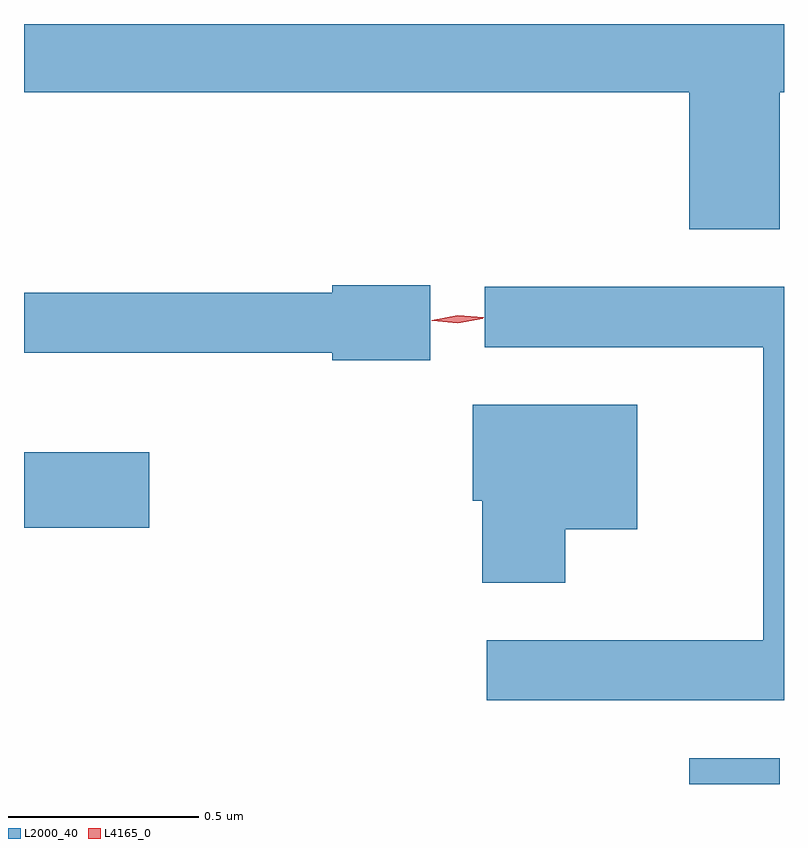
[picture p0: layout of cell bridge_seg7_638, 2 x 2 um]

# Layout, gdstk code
import gdstk
lib = gdstk.Library(unit=1e-6, precision=1e-09)
def R(c, l, rs):  # rectangles x0, y0, x1, y1
    for r in rs: c.add(gdstk.rectangle(r[:2], r[2:], *l))
def P(c, l, *ps):  # polygons
    for p in ps: c.add(gdstk.Polygon(p, *l))
L2000_40 = (2000, 40)
L4165_0 = (4165, 0)

bridge_seg7_638 = lib.new_cell('bridge_seg7_638')
R(bridge_seg7_638, L2000_40, [(770.096,1694.736,770.334,1694.804), (768.345,1695.411,768.674,1695.609)])
P(bridge_seg7_638, L2000_40, [(770.334,1696.556),(770.345,1696.556),(770.345,1696.736),(768.345,1696.736),(768.345,1696.556),(770.096,1696.556),(770.096,1696.196),(770.334,1696.196)],
  [(769.414,1696.049),(769.156,1696.049),(769.156,1696.029),(768.345,1696.029),(768.345,1695.871),(769.156,1695.871),(769.156,1695.851),(769.414,1695.851)],
  [(770.345,1696.044),(769.558,1696.044),(769.558,1695.886),(770.291,1695.886),(770.291,1695.114),(769.563,1695.114),(769.563,1694.956),(770.345,1694.956)],
  [(769.769,1695.406),(769.959,1695.406),(769.959,1695.734),(769.526,1695.734),(769.526,1695.481),(769.551,1695.481),(769.551,1695.266),(769.769,1695.266)])
P(bridge_seg7_638, L4165_0, [(769.487,1695.95),(769.418,1695.955),(769.418,1695.956),(769.418,1695.956),(769.486,1695.969),(769.555,1695.964),(769.555,1695.963),(769.555,1695.963)],
  [(769.487,1695.948),(769.421,1695.955),(769.421,1695.956),(769.421,1695.956),(769.486,1695.968),(769.552,1695.962),(769.552,1695.961),(769.552,1695.961)])

lib.write_gds('bridge_seg7_638.gds')
